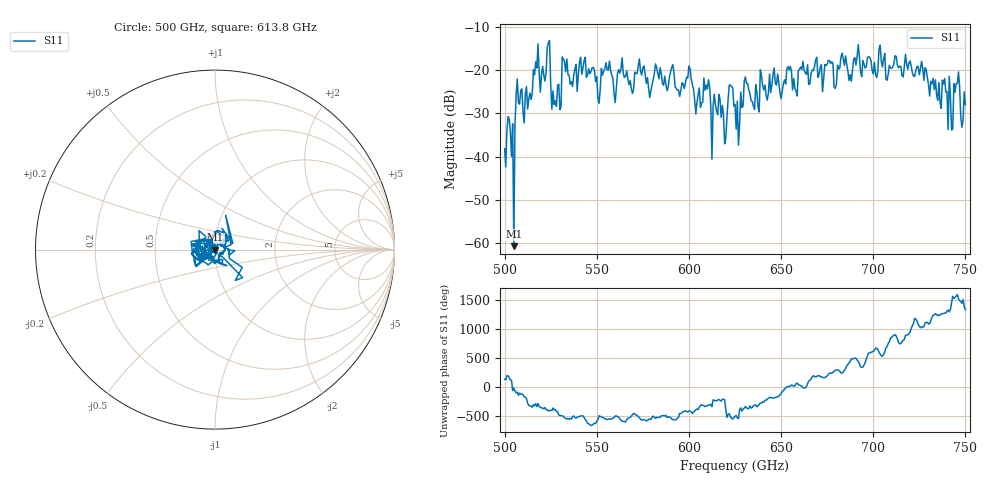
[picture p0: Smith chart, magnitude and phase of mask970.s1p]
!Created with skrf (http://scikit-rf.org).
# GHz S MA R 50.0
!freq magS11 angS11
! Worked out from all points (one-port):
!   401 points, 500 GHz to 750 GHz, reference 50 ohm
!   lowest |S11| = -60.7 dB at 505 GHz (marker M1), VSWR 1.00, Z = 50.1 - j0.0347 ohm
!   |S11| at or under -10 dB: start of sweep to end of sweep
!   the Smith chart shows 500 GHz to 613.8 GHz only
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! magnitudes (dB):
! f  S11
! 500 GHz  -38.2
! 503.1 GHz  -34.2
! 503.8 GHz  -40.0
! 505 GHz  -60.7
! 507.5 GHz  -27.5
! 513.8 GHz  -25.3
! 516.9 GHz  -18.1
! 523.8 GHz  -13.7
! 526.9 GHz  -28.0
! 531.2 GHz  -17.0
! 542.5 GHz  -19.6
! 550.6 GHz  -26.5
! 555.6 GHz  -19.9
! 559.4 GHz  -25.5
! 562.5 GHz  -20.7
! 593.8 GHz  -24.7
! 609.4 GHz  -23.5
! 618.8 GHz  -30.4
! 622.5 GHz  -23.5
! 625 GHz  -27.9
! 656.2 GHz  -24.6
! 683.8 GHz  -17.4
! 687.5 GHz  -21.1
! 718.8 GHz  -19.8
! 738.8 GHz  -22.0
! 741.9 GHz  -26.0
! 745 GHz  -23.2
! 750 GHz  -28.0
